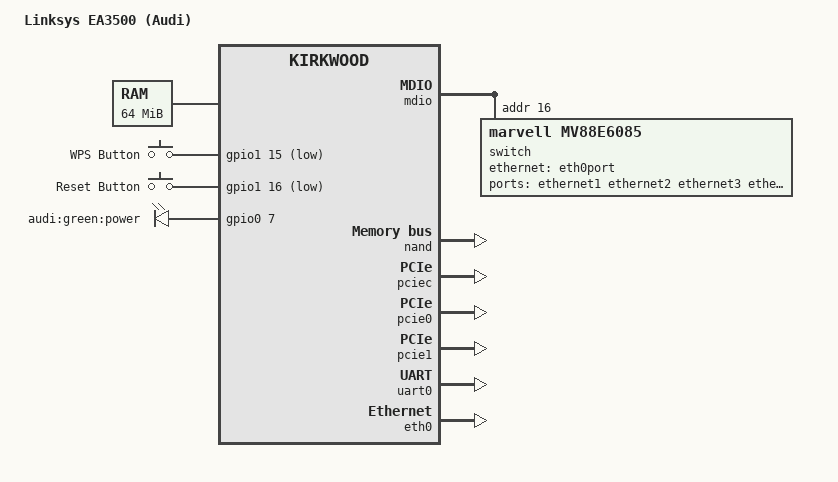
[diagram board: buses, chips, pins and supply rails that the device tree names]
// SPDX-License-Identifier: GPL-2.0-only
/*
 * kirkwood-linksys-audi.dts - Device Tree file for Linksys EA3500
 *
 * (c) 2013 Jonas Gorski <jogo@openwrt.org>
 * (c) 2013 Deutsche Telekom Innovation Laboratories
 * (c) 2014 Luka Perkov <luka@openwrt.org>
 * (c) 2014 Dan Walters <dan@walters.io>
 *
 */

/dts-v1/;

#include "kirkwood.dtsi"
#include "kirkwood-6282.dtsi"

/ {
	model = "Linksys EA3500 (Audi)";
	compatible = "linksys,ea3500", "linksys,audi", "marvell,kirkwood-88f6282", "marvell,kirkwood";

	memory@0 {
		device_type = "memory";
		reg = <0x00000000 0x4000000>;
	};

	aliases {
		led-boot = &led_power;
		led-failsafe = &led_power;
		led-running = &led_power;
		led-upgrade = &led_power;
		serial0 = &uart0;
	};

	chosen {
		stdout-path = "serial0:115200n8";
	};

	gpio-keys {
		compatible = "gpio-keys";

		pinctrl-0 = <&pmx_btn_wps &pmx_btn_reset>;
		pinctrl-names = "default";

		wps {
			label = "WPS Button";
			linux,code = <KEY_WPS_BUTTON>;
			gpios = <&gpio1 15 GPIO_ACTIVE_LOW>;
		};

		reset {
			label = "Reset Button";
			linux,code = <KEY_RESTART>;
			gpios = <&gpio1 16 GPIO_ACTIVE_LOW>;
		};
	};

	gpio-leds {
		compatible = "gpio-leds";

		pinctrl-0 = <&pmx_led_green_power>;
		pinctrl-names = "default";

		led_power: power {
			label = "audi:green:power";
			gpios = <&gpio0 7 GPIO_ACTIVE_HIGH>;
			default-state = "on";
		};
	};
};

&pinctrl {
	pmx_led_green_power: pmx-led-green-power {
		marvell,pins = "mpp7";
		marvell,function = "gpo";
	};

	pmx_btn_wps: pmx-btn-wps {
		marvell,pins = "mpp47";
		marvell,function = "gpio";
	};

	pmx_btn_reset: pmx-btn-reset {
		marvell,pins = "mpp48";
		marvell,function = "gpio";
	};
};

&mdio {
	status = "okay";

	switch@10 {
		compatible = "marvell,mv88e6085";
		#address-cells = <1>;
		#size-cells = <0>;
		reg = <16>;

		ports {
			#address-cells = <1>;
			#size-cells = <0>;

			port@0 {
				reg = <0>;
				label = "ethernet1";
			};

			port@1 {
				reg = <1>;
				label = "ethernet2";
			};

			port@2 {
				reg = <2>;
				label = "ethernet3";
			};

			port@3 {
				reg = <3>;
				label = "ethernet4";
			};

			port@4 {
				reg = <4>;
				label = "internet";
			};

			port@5 {
				reg = <5>;
				label = "cpu";
				ethernet = <&eth0port>;
				fixed-link {
					speed = <1000>;
					full-duplex;
				};
			};
		};
	};
};

&nand {
	status = "okay";

	pinctrl-0 = <&pmx_nand>;
	pinctrl-names = "default";

	partitions {
		compatible = "fixed-partitions";
		#address-cells = <1>;
		#size-cells = <1>;

		partition@0 {
			label = "u-boot";
			reg = <0x0 0x80000>;
			read-only;
		};

		partition@80000 {
			label = "u_env";
			reg = <0x80000 0x4000>;
		};

		partition@84000 {
			label = "s_env";
			reg = <0x84000 0x4000>;
		};

		partition@200000 {
			label = "kernel1";
			reg = <0x200000 0x290000>;
		};

		partition@490000 {
			label = "rootfs1";
			reg = <0x490000 0x1170000>;
		};

		partition@1600000 {
			label = "kernel2";
			reg = <0x1600000 0x290000>;
		};

		partition@1890000 {
			label = "rootfs2";
			reg = <0x1890000 0x1170000>;
		};

		partition@2a00000 {
			label = "syscfg";
			reg = <0x2a00000  0x1600000>;
		};

		partition@88000 {
			label = "unused";
			reg = <0x88000 0x178000>;
		};
	};
};

&pciec {
	status = "okay";
};

&pcie0 {
	status = "okay";
};

&pcie1 {
	status = "okay";
};

&mdio {
	status = "okay";
};

&uart0 {
	status = "okay";
};

/* eth0 is connected to a Marvell 88E6171 switch, without a PHY. So set
 * fixed speed and duplex.
 */
&eth0 {
	status = "okay";

	ethernet0-port@0 {
		speed = <1000>;
		duplex = <1>;
	};
};

/* eth1 is connected to the switch at port 6. However DSA only supports a
 * single CPU port. This port is disabled to avoid confusion.
 */
&eth1 {
	status = "disabled";
};

/* There is no battery on the board, so the RTC does not keep
 * time when there is no power, making it useless.
 */
&rtc {
	status = "disabled";
};
